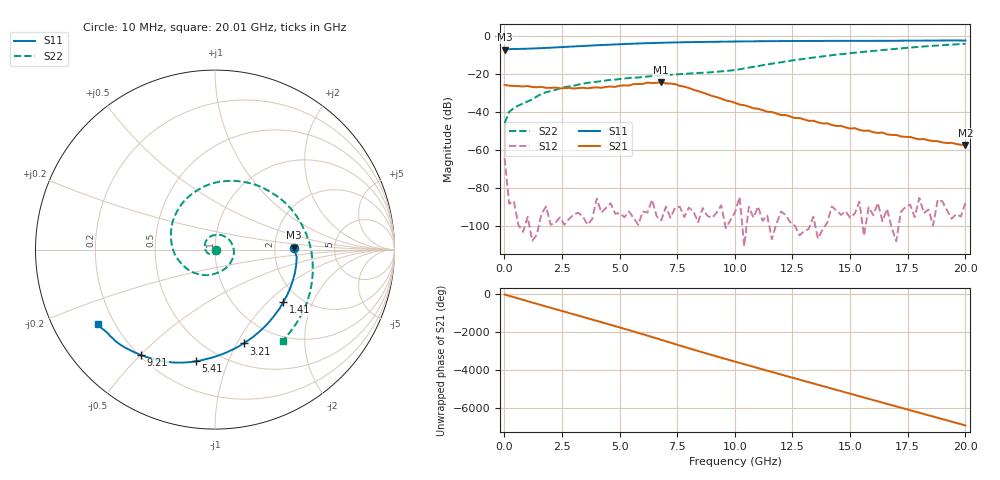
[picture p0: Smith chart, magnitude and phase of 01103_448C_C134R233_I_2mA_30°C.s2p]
!;Filter: kein Filter
!auto
!3/21/2019 9:26:52 AM
!3/21/2019 9:27:07 AM
!SP-Measurements Prober G4
!SP-Measurements Prober G4
!01103_448C
!134
!233
!12
!30
!-20
!0.00199954
!1.75
!0.22129449
!0.22129449
# Hz S  RI  R 50
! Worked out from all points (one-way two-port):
!   101 points, 10 MHz to 20.01 GHz, reference 50 ohm
!   highest |S21| = -24.26 dB at 6.81 GHz (marker M1); lowest = -57.4 dB at 20.01 GHz (marker M2)
!   lowest |S11| = -7.1 dB at 10 MHz (marker M3), VSWR 2.57, Z = 128 + j3.25 ohm
!   |S11| at or under -10 dB: nowhere
!   |S22| runs from -45.8 to -4.0 dB; largest |S21 - S12| = 0.061
!   S11 on the Smith chart (normalised r, x): 10 MHz: 2.56, +0.07; 1.41 GHz: 1.64, -1.25; 3.21 GHz: 0.71, -1.07; 5.41 GHz: 0.37, -0.77; 9.21 GHz: 0.21, -0.50; 20.01 GHz: 0.14, -0.29
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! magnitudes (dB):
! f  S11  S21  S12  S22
! 10 MHz  -7.1  -25.6  -64.4  -45.8
! 210 MHz  -6.8  -26.1  -88.5  -39.9
! 410 MHz  -6.7  -26.2  -87.1  -37.9
! 1.41 GHz  -6.4  -26.9  -104.8  -31.8
! 1.81 GHz  -6.1  -27.2  -89.9  -29.6
! 3.21 GHz  -5.2  -27.4  -93.2  -25.5
! 3.41 GHz  -5.1  -27.2  -95.3  -25.0
! 5.41 GHz  -4.0  -26.0  -92.6  -22.1
! 6.21 GHz  -3.6  -24.5  -93.2  -21.3
! 6.81 GHz  -3.4  -24.3  -97.3  -20.7
! 7.41 GHz  -3.2  -25.3  -90.6  -20.1
! 9.21 GHz  -2.9  -32.1  -93.2  -18.8
! 10.01 GHz  -2.8  -35.1  -93.0  -17.8
! 12.01 GHz  -2.5  -41.6  -92.6  -13.7
! 13.41 GHz  -2.5  -44.6  -95.3  -11.2
! 14.41 GHz  -2.4  -47.4  -92.0  -9.7
! 14.61 GHz  -2.4  -47.3  -94.3  -9.5
! 15.01 GHz  -2.4  -48.8  -95.9  -8.9
! 15.21 GHz  -2.4  -48.5  -93.7  -8.7
! 15.61 GHz  -2.4  -50.0  -105.5  -8.2
! 16.81 GHz  -2.3  -52.1  -101.1  -6.8
! 20.01 GHz  -2.2  -57.4  -88.0  -4.0
